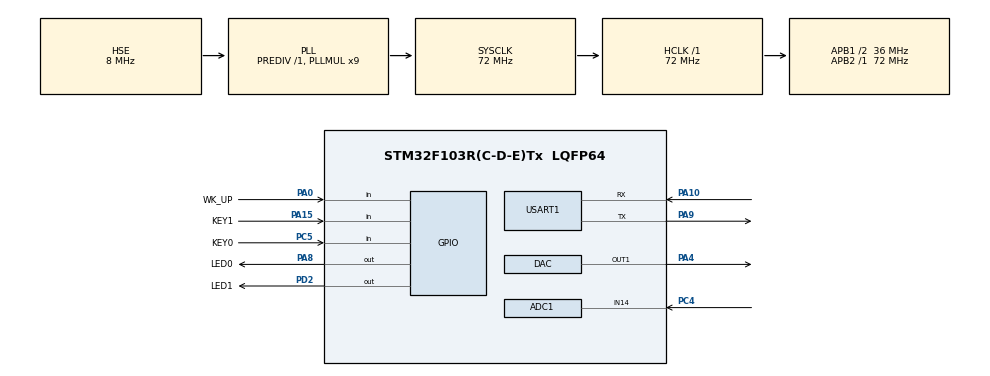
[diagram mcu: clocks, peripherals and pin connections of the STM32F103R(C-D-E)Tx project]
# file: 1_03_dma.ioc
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ADC1.Channel-0\#ChannelRegularConversion=ADC_CHANNEL_14
ADC1.ExternalTrigConv=ADC_EXTERNALTRIGCONV_T3_TRGO
ADC1.NbrOfConversionFlag=1
ADC1.Rank-0\#ChannelRegularConversion=1
ADC1.SamplingTime-0\#ChannelRegularConversion=ADC_SAMPLETIME_71CYCLES_5
ADC1.master=1
DAC.DAC_OutputBuffer=DAC_OUTPUTBUFFER_ENABLE
DAC.DAC_Trigger=DAC_TRIGGER_T6_TRGO
Dma.ADC1.0.Direction=DMA_PERIPH_TO_MEMORY
Dma.ADC1.0.Instance=DMA1_Channel1
Dma.ADC1.0.MemDataAlignment=DMA_MDATAALIGN_HALFWORD
Dma.ADC1.0.MemInc=DMA_MINC_ENABLE
Dma.ADC1.0.Mode=DMA_CIRCULAR
Dma.ADC1.0.PeriphDataAlignment=DMA_PDATAALIGN_HALFWORD
Dma.ADC1.0.PeriphInc=DMA_PINC_DISABLE
Dma.ADC1.0.Priority=DMA_PRIORITY_LOW
Dma.DAC_CH1.1.Direction=DMA_MEMORY_TO_PERIPH
Dma.DAC_CH1.1.Instance=DMA2_Channel3
Dma.DAC_CH1.1.MemDataAlignment=DMA_MDATAALIGN_HALFWORD
Dma.DAC_CH1.1.MemInc=DMA_MINC_ENABLE
Dma.DAC_CH1.1.Mode=DMA_CIRCULAR
Dma.DAC_CH1.1.PeriphDataAlignment=DMA_PDATAALIGN_HALFWORD
Dma.DAC_CH1.1.PeriphInc=DMA_PINC_DISABLE
Dma.DAC_CH1.1.Priority=DMA_PRIORITY_LOW
Dma.Request0=ADC1
Dma.Request1=DAC_CH1
Mcu.Family=STM32F1
Mcu.Name=STM32F103R(C-D-E)Tx
Mcu.Package=LQFP64
NVIC.ADC1_2_IRQn=true\:3\:0\:true\:false\:true\:true\:true\:true
NVIC.DMA1_Channel1_IRQn=true\:0\:0\:false\:false\:true\:false\:true\:true
NVIC.DMA2_Channel3_IRQn=true\:0\:0\:false\:false\:true\:false\:true\:true
NVIC.PriorityGroup=NVIC_PRIORITYGROUP_4
PA0-WKUP.GPIO_Label=WK_UP
PA0-WKUP.GPIO_PuPd=GPIO_PULLDOWN
PA0-WKUP.Signal=GPIO_Input
PA10.Mode=Asynchronous
PA10.Signal=USART1_RX
PA13.Mode=Serial_Wire
PA13.Signal=SYS_JTMS-SWDIO
PA14.Mode=Serial_Wire
PA14.Signal=SYS_JTCK-SWCLK
PA15.GPIO_Label=KEY1
PA15.GPIO_PuPd=GPIO_PULLUP
PA15.Signal=GPIO_Input
PA4.Signal=COMP_DAC1_group
PA8.GPIO_Label=LED0
PA8.GPIO_PuPd=GPIO_PULLUP
PA8.PinState=GPIO_PIN_SET
PA8.Signal=GPIO_Output
PA9.Mode=Asynchronous
PA9.Signal=USART1_TX
PC4.Signal=ADCx_IN14
PC5.GPIO_Label=KEY0
PC5.GPIO_PuPd=GPIO_PULLUP
PC5.Signal=GPIO_Input
PD0-OSC_IN.Mode=HSE-External-Oscillator
PD0-OSC_IN.Signal=RCC_OSC_IN
PD1-OSC_OUT.Mode=HSE-External-Oscillator
PD1-OSC_OUT.Signal=RCC_OSC_OUT
PD2.GPIO_Label=LED1
PD2.GPIO_PuPd=GPIO_PULLUP
PD2.PinState=GPIO_PIN_SET
PD2.Signal=GPIO_Output
ProjectManager.HeapSize=0x200
ProjectManager.StackSize=0x400
ProjectManager.TargetToolchain=STM32CubeIDE
RCC.ADCPresc=RCC_ADCPCLK2_DIV6
RCC.AHBFreq_Value=72000000
RCC.APB1CLKDivider=RCC_HCLK_DIV2
RCC.APB1Freq_Value=36000000
RCC.APB1TimFreq_Value=72000000
RCC.APB2Freq_Value=72000000
RCC.APB2TimFreq_Value=72000000
RCC.HCLKFreq_Value=72000000
RCC.PLLMUL=RCC_PLL_MUL9
RCC.PLLSourceVirtual=RCC_PLLSOURCE_HSE
RCC.SYSCLKFreq_VALUE=72000000
RCC.SYSCLKSource=RCC_SYSCLKSOURCE_PLLCLK
RCC.USBFreq_Value=72000000
SH.ADCx_IN14.0=ADC1_IN14,IN14
SH.COMP_DAC1_group.0=DAC_OUT1,DAC_OUT1
TIM3.Period=1000-1
TIM3.Prescaler=72-1
TIM3.TIM_MasterOutputTrigger=TIM_TRGO_UPDATE
TIM6.Period=200-1
TIM6.Prescaler=72-1
TIM6.TIM_MasterOutputTrigger=TIM_TRGO_UPDATE
USART1.VirtualMode=VM_ASYNC
VP_TIM3_VS_ClockSourceINT.Mode=Internal
VP_TIM6_VS_ClockSourceINT.Mode=Enable_Timer
board=custom

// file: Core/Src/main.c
/* USER CODE BEGIN Header */
/**
  ******************************************************************************
  * @file           : main.c
  * @brief          : Main program body
  ******************************************************************************
  * @attention
  *
  * Copyright (c) 2026 STMicroelectronics.
  * All rights reserved.
  *
  * This software is licensed under terms that can be found in the LICENSE file
  * in the root directory of this software component.
  * If no LICENSE file comes with this software, it is provided AS-IS.
  *
  ******************************************************************************
  */
/* USER CODE END Header */
#include "main.h"
#include "adc.h"
#include "dac.h"
#include "dma.h"
#include "tim.h"
#include "usart.h"
#include "gpio.h"

/* USER CODE BEGIN Includes */
#include "stdio.h"
#include "ringbuf.h"
#include <string.h>
#include <stdlib.h>
/* USER CODE END Includes */

/* USER CODE BEGIN PV */
	#define N 512
	extern DMA_HandleTypeDef hdma_adc1;   /* CubeMX 没生成到 adc.h，这里补声明 */
	uint16_t adc_buf[N];
	volatile uint32_t cnt = 0;
	uint8_t frame[4 + N * 2 + 2];
	/* 中值 1650 mV，幅度 ±1600 码（±1.29 V），范围 448—3648 */
	const uint16_t sine_table[128] = {
	    2048, 2127, 2205, 2283, 2360, 2437, 2512, 2587,
	    2660, 2732, 2802, 2871, 2937, 3001, 3063, 3122,
	    3179, 3234, 3285, 3333, 3378, 3420, 3459, 3494,
	    3526, 3554, 3579, 3600, 3617, 3631, 3640, 3646,
	    3648, 3646, 3640, 3631, 3617, 3600, 3579, 3554,
	    3526, 3494, 3459, 3420, 3378, 3333, 3285, 3234,
	    3179, 3122, 3063, 3001, 2937, 2871, 2802, 2732,
	    2660, 2587, 2512, 2437, 2360, 2283, 2205, 2127,
	    2048, 1969, 1891, 1813, 1736, 1659, 1584, 1509,
	    1436, 1364, 1294, 1225, 1159, 1095, 1033,  974,
	     917,  862,  811,  763,  718,  676,  637,  602,
	     570,  542,  517,  496,  479,  465,  456,  450,
	     448,  450,  456,  465,  479,  496,  517,  542,
	     570,  602,  637,  676,  718,  763,  811,  862,
	     917,  974, 1033, 1095, 1159, 1225, 1294, 1364,
	    1436, 1509, 1584, 1659, 1736, 1813, 1891, 1969,
	};

	uint8_t rx_byte;
	uint8_t rb_storage[64];
	ringbuf_t rb;
	volatile uint8_t rx_overflow = 0;   /* 1 = 上次 ring_put 失败过 */
	char     line[80];       /* 攒一行命令 */
	uint16_t line_len = 0;
	uint8_t line_overflow = 0;
	volatile uint16_t led_on_ms  = 2000;
	volatile uint16_t led_off_ms = 4000;
/* USER CODE END PV */

void SystemClock_Config(void);

/* USER CODE BEGIN 0 */
void HAL_TIM_PeriodElapsedCallback(TIM_HandleTypeDef *htim)
{
	/* 本工程不用定时器中断，仅保留空实现 */
}

int __io_putchar(int ch)
{
	HAL_UART_Transmit(&huart1, (uint8_t *)&ch, 1, HAL_MAX_DELAY);
	return ch;
}

void HAL_ADC_ConvCpltCallback(ADC_HandleTypeDef* hadc)
{
	if(hadc->Instance == ADC1)
	{
		cnt++;
	}
}

uint16_t crc16_ccitt(const uint8_t *data, uint16_t len)
{
    uint16_t crc = 0xFFFF;
    for (uint16_t i = 0; i < len; i++)
    {
        crc ^= (uint16_t)data[i] << 8;
        for (uint8_t b = 0; b < 8; b++)
        {
            if (crc & 0x8000) crc = (crc << 1) ^ 0x1021;
            else              crc <<= 1;
        }
    }
    return crc;
}

void send_frame(uint16_t seq)
{
    frame[0] = 0xAA;
    frame[1] = 0x55;
    frame[2] = seq & 0xFF;          /* 低字节 */
    frame[3] = (seq >> 8) & 0xFF;   /* 高字节 */
    for (uint16_t i = 0; i < N; i++)
	{
		frame[4 + i * 2]     = adc_buf[i] & 0xFF;         /* 低字节 */
		frame[4 + i * 2 + 1] = (adc_buf[i] >> 8) & 0xFF;  /* 高字节 */
	}
    uint16_t crc = crc16_ccitt(frame, 4 + N * 2);   /* 只算前 1028 */
    frame[4 + N * 2]     = crc & 0xFF;
    frame[4 + N * 2 + 1] = (crc >> 8) & 0xFF;

    HAL_UART_Transmit(&huart1, frame, 4 + N * 2 + 2, 1000);   /* 1030 */
}

void led_task(void)
{
    static uint32_t last = 0;    /* 上次切换的时刻 */
    static uint8_t  on   = 0;    /* 0=灭 1=亮 */

    uint32_t now = HAL_GetTick();   /* 上电以来的毫秒数 */

    /* 灯亮时等 2000 ms，灯灭时等 4000 ms（比例为便于观察放大 10 倍） */
    uint32_t p = (on ? led_on_ms : led_off_ms);
    if (now - last >= p)
	{
		last = now;
		on = !on;
		/* 根据 on 设置灯的高低电平 */
		if(on)	HAL_GPIO_WritePin(LED0_GPIO_Port, LED0_Pin, GPIO_PIN_RESET);//1  light on
		else	HAL_GPIO_WritePin(LED0_GPIO_Port, LED0_Pin, GPIO_PIN_SET);//0 off
	}
}

void HAL_UART_RxCpltCallback(UART_HandleTypeDef *huart)
{
	if(huart->Instance == USART1)
	{
		if (!ring_put(&rb, rx_byte))   rx_overflow = 1;
		HAL_UART_Receive_IT(&huart1, &rx_byte, 1);
	}
}

void handle_line(char *s)
{
    if (strncmp(s, "SET ", 4) == 0)          /* 前缀匹配 */
    {
        uint32_t v = atoi(s + 4);            /* 跳过 "SET " 取数字 */
        if (v < 50 || v > 20000)
        {
            printf("ERR range 50-20000\r\n");
        }
        else
        {
            led_on_ms  = (uint16_t)v;
            led_off_ms = (uint16_t)(v * 2);
            printf("OK on=%u off=%u\r\n", led_on_ms, led_off_ms);
        }
    }
    else if (strcmp(s, "GET") == 0)           /* 完整匹配 */
    {
        printf("on=%u off=%u\r\n", led_on_ms, led_off_ms);
    }
    else
    {
        printf("ERR unknown\r\n");
    }
}
/* USER CODE END 0 */

int main(void)
{

  /* MCU Configuration--------------------------------------------------------*/

  /* Reset of all peripherals, Initializes the Flash interface and the Systick. */
  HAL_Init();

  /* Configure the system clock */
  SystemClock_Config();

  /* Initialize all configured peripherals */
  MX_GPIO_Init();
  MX_DMA_Init();
  MX_TIM6_Init();
  MX_USART1_UART_Init();
  MX_ADC1_Init();
  MX_TIM3_Init();
  MX_DAC_Init();
  /* USER CODE BEGIN 2 */
  HAL_TIM_Base_Start(&htim6);
  HAL_TIM_Base_Start(&htim3);
  HAL_ADC_Start_DMA(&hadc1, (uint32_t*)adc_buf, N);
  uint32_t last = 0;
  uint16_t seq = 0;
  HAL_DAC_Start_DMA(&hdac, DAC_CHANNEL_1, (uint32_t*)sine_table, 128, DAC_ALIGN_12B_R);
  ring_init(&rb, rb_storage, sizeof(rb_storage));
  HAL_UART_Receive_IT(&huart1, &rx_byte, 1);/* 启动第一次接收 */
  /* USER CODE END 2 */

  /* Infinite loop */
  /* USER CODE BEGIN WHILE */
  while (1)
  {
	  if (cnt != last)          /* 有新的一帧数据了 */
	  {
		  last = cnt;
		  send_frame(seq++);
	  }
	  led_task();

	  if (rx_overflow)
	  {
	      rx_overflow = 0;
	      uint8_t dump;
	      while (ring_get(&rb, &dump)) { }        /* 清空缓冲区，脏数据不要了 */
	      const char *err = "ERR overflow\r\n";
	      HAL_UART_Transmit(&huart1, (uint8_t *)err, 14, 100);
	  }

	  uint8_t c;
	  while (ring_get(&rb, &c))
	  {
	      if (c == '\n')
	      {
	          line[line_len] = '\0';
	          if (line_len > 0 && !line_overflow)   /* 没溢出才处理 */
	              handle_line(line);
	          line_len = 0;
	          line_overflow = 0;                    /* 一行结束，清标志 */
	      }
	      else if (c != '\r')
	      {
	          if (line_len < sizeof(line) - 1)
	              line[line_len++] = c;
	          else
	              line_overflow = 1;                /* 只置标志，继续吞字符 */
	      }
	  }
    /* USER CODE END WHILE */

  }
}

void SystemClock_Config(void)
{
  RCC_OscInitTypeDef RCC_OscInitStruct = {0};
  RCC_ClkInitTypeDef RCC_ClkInitStruct = {0};
  RCC_PeriphCLKInitTypeDef PeriphClkInit = {0};

  /** Initializes the RCC Oscillators according to the specified parameters
  * in the RCC_OscInitTypeDef structure.
  */
  RCC_OscInitStruct.OscillatorType = RCC_OSCILLATORTYPE_HSE;
  RCC_OscInitStruct.HSEState = RCC_HSE_ON;
  RCC_OscInitStruct.HSEPredivValue = RCC_HSE_PREDIV_DIV1;
  RCC_OscInitStruct.HSIState = RCC_HSI_ON;
  RCC_OscInitStruct.PLL.PLLState = RCC_PLL_ON;
  RCC_OscInitStruct.PLL.PLLSource = RCC_PLLSOURCE_HSE;
  RCC_OscInitStruct.PLL.PLLMUL = RCC_PLL_MUL9;
  if (HAL_RCC_OscConfig(&RCC_OscInitStruct) != HAL_OK)
  {
    Error_Handler();
  }

  /** Initializes the CPU, AHB and APB buses clocks
  */
  RCC_ClkInitStruct.ClockType = RCC_CLOCKTYPE_HCLK|RCC_CLOCKTYPE_SYSCLK
                              |RCC_CLOCKTYPE_PCLK1|RCC_CLOCKTYPE_PCLK2;
  RCC_ClkInitStruct.SYSCLKSource = RCC_SYSCLKSOURCE_PLLCLK;
  RCC_ClkInitStruct.AHBCLKDivider = RCC_SYSCLK_DIV1;
  RCC_ClkInitStruct.APB1CLKDivider = RCC_HCLK_DIV2;
  RCC_ClkInitStruct.APB2CLKDivider = RCC_HCLK_DIV1;

  if (HAL_RCC_ClockConfig(&RCC_ClkInitStruct, FLASH_LATENCY_2) != HAL_OK)
  {
    Error_Handler();
  }
  PeriphClkInit.PeriphClockSelection = RCC_PERIPHCLK_ADC;
  PeriphClkInit.AdcClockSelection = RCC_ADCPCLK2_DIV6;
  if (HAL_RCCEx_PeriphCLKConfig(&PeriphClkInit) != HAL_OK)
  {
    Error_Handler();
  }
}

void Error_Handler(void)
{
  __disable_irq();
  while (1)
  {
  }
}
